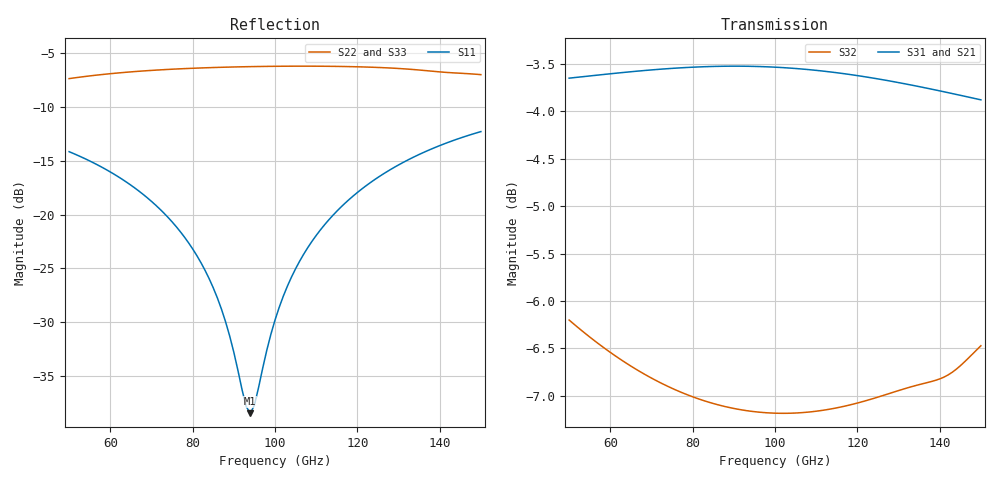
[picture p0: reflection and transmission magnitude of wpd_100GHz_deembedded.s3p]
! Created with skrf 2.2.0 (http://scikit-rf.org).
# GHz S DB R 50.0
! Port[1] = P1
! Port[2] = P2
! Port[3] = P3
!freq dBS11 angS11 dBS12 angS12 dBS13 angS13
! dBS21 angS21 dBS22 angS22 dBS23 angS23
! dBS31 angS31 dBS32 angS32 dBS33 angS33
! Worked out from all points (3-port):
!   101 points, 50 GHz to 150 GHz, reference 50 ohm
!   strongest paths, dB at 50 GHz, 75 GHz, 100 GHz, 125 GHz, 150 GHz:
!     S31: -3.6, -3.5, -3.5, -3.7, -3.9
!     S21: -3.7, -3.6, -3.5, -3.7, -3.9
!     S32: -6.2, -6.9, -7.2, -7.0, -6.5
!   lowest |S11| = -38.5 dB at 94 GHz (marker M1), VSWR 1.02, Z = 51.2 + j0.0912 ohm
!   |S11| at or under -10 dB: start of sweep to end of sweep
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50  -14.15 132.1  -3.65 -44.4  -3.65 -44.3
    -3.65 -44.4  -7.35 48.0  -6.20 -98.5
    -3.65 -44.3  -6.20 -98.5  -7.36 47.9
67  -17.82 115.0  -3.58 -59.9  -3.57 -59.9
    -3.58 -59.9  -6.67 26.9  -6.74 -127.2
    -3.57 -59.9  -6.74 -127.2  -6.69 26.8
79  -22.61 100.0  -3.54 -71.1  -3.54 -71.0
    -3.54 -71.1  -6.41 14.3  -6.99 -146.8
    -3.54 -71.0  -6.99 -146.8  -6.43 14.3
87  -28.78 82.8  -3.53 -78.6  -3.52 -78.6
    -3.53 -78.6  -6.30 6.6  -7.10 -159.8
    -3.52 -78.6  -7.10 -159.8  -6.33 6.6
94  -38.46 4.3  -3.53 -85.2  -3.52 -85.2
    -3.53 -85.2  -6.24 0.1  -7.16 -171.1
    -3.52 -85.2  -7.16 -171.1  -6.27 0.0
100  -29.80 -68.4  -3.54 -90.9  -3.53 -90.9
     -3.54 -90.9  -6.21 -5.4  -7.18 179.2
     -3.53 -90.9  -7.18 179.2  -6.24 -5.4
107  -23.65 -86.0  -3.57 -97.5  -3.55 -97.5
     -3.57 -97.5  -6.20 -11.8  -7.18 167.9
     -3.55 -97.5  -7.18 167.9  -6.23 -11.8
117  -18.94 -99.6  -3.62 -106.9  -3.60 -106.9
     -3.62 -106.9  -6.23 -21.2  -7.11 151.7
     -3.60 -106.9  -7.11 151.7  -6.27 -21.2
131  -15.17 -114.4  -3.72 -119.9  -3.70 -120.0
     -3.72 -119.9  -6.44 -35.3  -6.93 128.4
     -3.70 -120.0  -6.93 128.4  -6.48 -35.3
150  -12.28 -132.3  -3.89 -137.2  -3.88 -137.3
     -3.89 -137.2  -6.98 -56.5  -6.47 97.1
     -3.88 -137.3  -6.47 97.1  -7.04 -56.5
